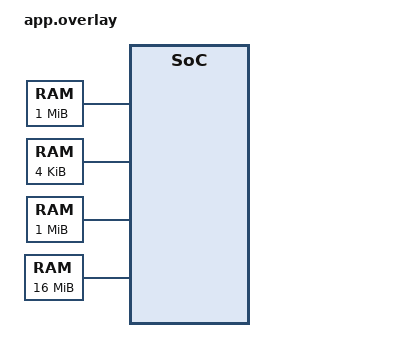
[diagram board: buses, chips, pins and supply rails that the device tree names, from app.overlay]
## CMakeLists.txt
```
cmake_minimum_required(VERSION 3.20.0)
find_package(Zephyr REQUIRED HINTS $ENV{ZEPHYR_BASE})
project(am64x_rpmsg_poc)

target_sources(app PRIVATE src/main.c src/rsc_table.c)
target_include_directories(app PRIVATE ../common)
```

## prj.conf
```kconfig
CONFIG_PRINTK=y
CONFIG_SERIAL=y
CONFIG_UART_CONSOLE=y

# Raw OpenAMP (remote/device role); the resource table comes from src/rsc_table.c
CONFIG_OPENAMP=y
CONFIG_MBOX=y

# crc32_ieee() checks bulk payloads in place
CONFIG_CRC=y

CONFIG_HEAP_MEM_POOL_SIZE=8192
CONFIG_MAIN_STACK_SIZE=4096

# Shell on uart0 for "rpmsg send <text...>"
CONFIG_SHELL=y
CONFIG_SHELL_STACK_SIZE=4096
```

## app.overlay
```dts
/*
 * R5F memory map for the AM64x RPMsg POC on the Renode ZynqMP stand-in.
 * Must agree with renode/am64_zynqmp.repl and linux_app/am64_rpmsg_overlay.dts.
 */

/* Run from dedicated RAM outside the DDR that Linux owns */
/delete-node/ &sram0;

/ {
	chosen {
		zephyr,sram = &r5_ram;
		zephyr,ipc_shm = &ipc_shm;
		zephyr,ipc_rsc_table = &rsc_table;
	};

	r5_ram: memory@a0000000 {
		compatible = "mmio-sram";
		reg = <0xa0000000 DT_SIZE_M(1)>;
	};

	rsc_table: memory@a0100000 {
		compatible = "mmio-sram";
		reg = <0xa0100000 0x1000>;
	};

	/* VRING0 @ +0x0, VRING1 @ +0x4000, RPMsg buffers from +0x8000 */
	ipc_shm: memory@a5000000 {
		compatible = "mmio-sram";
		reg = <0xa5000000 DT_SIZE_M(1)>;
	};

	/* Bulk payloads: A53->R5F area @ +0x0, R5F->A53 area @ +0x800000 */
	bulk_shm: memory@a8000000 {
		compatible = "mmio-sram";
		reg = <0xa8000000 DT_SIZE_M(16)>;
	};

	rpmsg_mbox: rpmsg-mbox {
		compatible = "poc,rpmsg-mbox-consumer";
		mboxes = <&ipi_apu 0>, <&ipi_apu 1>;
		mbox-names = "tx", "rx";
	};
};

/*
 * ZynqMP IPI used as the AM64x mailbox stand-in: RPU0 owns IPI channel 1
 * (bit 8, SPI 33) and talks to the APU on IPI channel 7 (bit 24), which Linux
 * userspace drives through UIO.
 */
&{/soc} {
	rpu0_ipi_mbox: mailbox@ff310000 {
		compatible = "xlnx,mbox-versal-ipi-mailbox";
		reg = <0xff310000 0x1000>;
		reg-names = "ctrl";
		interrupts = <GIC_SPI 33 IRQ_TYPE_LEVEL IRQ_DEFAULT_PRIORITY>;
		xlnx,ipi-id = <8>;
		#address-cells = <1>;
		#size-cells = <1>;

		ipi_apu: mailbox@ff340000 {
			compatible = "xlnx,mbox-versal-ipi-dest-mailbox";
			reg = <0xff340000 0x1000>;
			reg-names = "ctrl";
			xlnx,ipi-id = <24>;
			#mbox-cells = <1>;
		};
	};
};
```

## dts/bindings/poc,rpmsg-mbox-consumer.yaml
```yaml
description: |
  Mailbox channels the POC firmware uses to kick and receive kicks from the A53.
  Expects "tx" and "rx" entries in mboxes/mbox-names.

compatible: "poc,rpmsg-mbox-consumer"

include: base.yaml

properties:
  mboxes:
    required: true

  mbox-names:
    required: true
```

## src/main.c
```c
#include <errno.h>
#include <stdlib.h>
#include <string.h>
#include <zephyr/kernel.h>
#include <zephyr/devicetree.h>
#include <zephyr/drivers/mbox.h>
#include <zephyr/shell/shell.h>
#include <zephyr/sys/atomic.h>
#include <zephyr/sys/barrier.h>
#include <zephyr/sys/crc.h>
#include <zephyr/sys/printk.h>
#include <openamp/open_amp.h>
#include <metal/sys.h>
#include <metal/io.h>
#include "rpmsg_bulk.h"
#include "rsc_table.h"

#define RPMSG_SERVICE_NAME "rpmsg-client-sample"
#define PING_MSG           "ping"
#define REPLY_MSG          "pong"

/* 512-byte RPMsg buffer minus the 16-byte RPMsg header */
#define MAX_PAYLOAD 496

#define SHM_NODE DT_CHOSEN(zephyr_ipc_shm)
#define SHM_ADDR DT_REG_ADDR(SHM_NODE)
#define SHM_SIZE DT_REG_SIZE(SHM_NODE)

#define BULK_NODE DT_NODELABEL(bulk_shm)
BUILD_ASSERT(DT_REG_ADDR(BULK_NODE) == RPMSG_BULK_REGION_ADDR &&
	     DT_REG_SIZE(BULK_NODE) == RPMSG_BULK_REGION_SIZE,
	     "bulk_shm in app.overlay must match common/rpmsg_bulk.h");
static uint8_t *const bulk_region = (uint8_t *)DT_REG_ADDR(BULK_NODE);

/* ZynqMP IPI: RPU0 (channel 1) <-> APU (channel 7), see app.overlay */
static const struct mbox_dt_spec mbox_tx = MBOX_DT_SPEC_GET(DT_NODELABEL(rpmsg_mbox), tx);
static const struct mbox_dt_spec mbox_rx = MBOX_DT_SPEC_GET(DT_NODELABEL(rpmsg_mbox), rx);

static K_SEM_DEFINE(kick_sem, 0, 1);

static metal_phys_addr_t shm_physmap = SHM_ADDR;
static struct metal_io_region shm_io;
static metal_phys_addr_t rsc_physmap;
static struct metal_io_region rsc_io;

static struct rpmsg_virtio_device rvdev;
static struct rpmsg_endpoint ept;
static struct rpmsg_endpoint bulk_ept;

/* Set once a message from the A53 has told us its endpoint address */
static atomic_t a53_connected;
static atomic_t a53_bulk_connected;

/* Set while our R5F->A53 area holds a payload the A53 hasn't released */
static atomic_t bulk_in_flight;
static uint32_t bulk_next_id = 1;

/*
 * Last payload received from the A53, for "rpmsg dump". It stays in the A53's
 * area until the A53 sends its next bulk payload.
 */
static struct k_spinlock bulk_rx_lock;
static struct rpmsg_bulk_msg bulk_rx_last;

static void mbox_rx_callback(const struct device *dev, mbox_channel_id_t channel_id,
			     void *user_data, struct mbox_msg *data)
{
	k_sem_give(&kick_sem);
}

/* Called by OpenAMP whenever the A53 has to look at a vring */
static int mailbox_notify(void *priv, uint32_t id)
{
	int ret;

	/* The IPI is busy until the A53 acknowledges the previous kick */
	while ((ret = mbox_send_dt(&mbox_tx, NULL)) == -EBUSY) {
		k_msleep(1);
	}

	return ret;
}

static int endpoint_cb(struct rpmsg_endpoint *ept, void *data, size_t len, uint32_t src,
		       void *priv)
{
	/* OpenAMP has now filled ept->dest_addr with the A53's address */
	if (!atomic_set(&a53_connected, 1)) {
		printk("OpenAMP: A53 connected (addr 0x%x)\n", src);
	}

	/* A zero-length message only announces the A53's endpoint */
	if (len == 0) {
		return RPMSG_SUCCESS;
	}

	printk("OpenAMP: Received message: \"%.*s\"\n", (int)len, (char *)data);

	if (len == strlen(PING_MSG) && !memcmp(data, PING_MSG, len)) {
		if (rpmsg_send(ept, REPLY_MSG, strlen(REPLY_MSG)) < 0) {
			printk("OpenAMP: failed to send reply\n");
		} else {
			printk("OpenAMP: Sent reply: \"%s\"\n", REPLY_MSG);
		}
	}

	return RPMSG_SUCCESS;
}

/*
 * rpmsg send <text...>: runs in the shell thread. OpenAMP serializes vring
 * access with the RPMsg device lock, so this can race with main()'s kick
 * processing.
 */
static int cmd_rpmsg_send(const struct shell *sh, size_t argc, char **argv)
{
	char msg[MAX_PAYLOAD];
	size_t len = 0;
	int ret;

	if (!atomic_get(&a53_connected)) {
		shell_error(sh, "OpenAMP: A53 not connected, start am64_rpmsg_userspace first");
		return -ENOTCONN;
	}

	for (size_t i = 1; i < argc; i++) {
		size_t n = strlen(argv[i]);

		if (len + (i > 1) + n > MAX_PAYLOAD) {
			shell_error(sh, "OpenAMP: message too long (max %d bytes)", MAX_PAYLOAD);
			return -EMSGSIZE;
		}
		if (i > 1) {
			msg[len++] = ' ';
		}
		memcpy(&msg[len], argv[i], n);
		len += n;
	}

	ret = rpmsg_send(&ept, msg, len);
	if (ret < 0) {
		shell_error(sh, "OpenAMP: failed to send message: %d", ret);
		return -EIO;
	}
	shell_print(sh, "OpenAMP: Sent message: \"%.*s\"", (int)len, msg);

	return 0;
}

static int bulk_send_ctrl(uint32_t type, uint32_t id, uint32_t offset, uint32_t len,
			  uint32_t crc)
{
	struct rpmsg_bulk_msg msg = {
		.type = type, .id = id, .offset = offset, .len = len, .crc32 = crc,
	};

	return rpmsg_send(&bulk_ept, &msg, sizeof(msg));
}

/* The A53 wrote a payload into its area: check it in place, then release it */
static int bulk_endpoint_cb(struct rpmsg_endpoint *ept, void *data, size_t len, uint32_t src,
			    void *priv)
{
	struct rpmsg_bulk_msg msg;
	uint32_t crc;

	if (!atomic_set(&a53_bulk_connected, 1)) {
		printk("OpenAMP: A53 bulk channel connected (addr 0x%x)\n", src);
	}
	if (len == 0) {
		return RPMSG_SUCCESS;
	}
	if (len != sizeof(msg)) {
		printk("OpenAMP: dropped bulk message with bad length %u\n", (unsigned int)len);
		return RPMSG_SUCCESS;
	}
	memcpy(&msg, data, sizeof(msg));

	switch (msg.type) {
	case RPMSG_BULK_XFER:
		if (msg.offset < RPMSG_BULK_A53_TX_OFFSET || msg.len > RPMSG_BULK_MAX_LEN ||
		    msg.offset - RPMSG_BULK_A53_TX_OFFSET > RPMSG_BULK_MAX_LEN - msg.len) {
			printk("OpenAMP: dropped bulk %u outside the A53 area (offset 0x%x, len %u)\n",
			       msg.id, msg.offset, msg.len);
			return RPMSG_SUCCESS;
		}
		crc = crc32_ieee(bulk_region + msg.offset, msg.len);
		printk("OpenAMP: Received bulk %u: %u bytes, crc 0x%08x %s\n", msg.id, msg.len,
		       crc, crc == msg.crc32 ? "OK" : "MISMATCH");
		K_SPINLOCK(&bulk_rx_lock) {
			bulk_rx_last = msg;
		}
		if (bulk_send_ctrl(RPMSG_BULK_RELEASE, msg.id, 0, 0, 0) < 0) {
			printk("OpenAMP: failed to release bulk %u\n", msg.id);
		}
		break;
	case RPMSG_BULK_RELEASE:
		atomic_clear(&bulk_in_flight);
		printk("OpenAMP: bulk %u released\n", msg.id);
		break;
	default:
		printk("OpenAMP: dropped bulk message with unknown type %u\n", msg.type);
		break;
	}

	return RPMSG_SUCCESS;
}

/* Parses <n>[K|M] */
static int parse_size(const char *arg, size_t *size)
{
	char *end;
	unsigned long n = strtoul(arg, &end, 0);

	if (end == arg) {
		return -EINVAL;
	}
	if (*end == 'K' || *end == 'k') {
		n *= 1024;
		end++;
	} else if (*end == 'M' || *end == 'm') {
		n *= 1024 * 1024;
		end++;
	}
	if (*end != '\0') {
		return -EINVAL;
	}
	*size = n;
	return 0;
}

/*
 * rpmsg bulk <bytes>[K|M]: fill our R5F->A53 area with a test pattern and hand
 * it to the A53. The payload never passes through the vrings.
 */
static int cmd_rpmsg_bulk(const struct shell *sh, size_t argc, char **argv)
{
	uint8_t *buf = bulk_region + RPMSG_BULK_R5F_TX_OFFSET;
	uint32_t id, crc;
	size_t len;
	int ret;

	if (parse_size(argv[1], &len) || len == 0 || len > RPMSG_BULK_MAX_LEN) {
		shell_error(sh, "OpenAMP: bulk size must be 1..%u bytes (K/M suffixes allowed)",
			    RPMSG_BULK_MAX_LEN);
		return -EINVAL;
	}
	if (!atomic_get(&a53_bulk_connected)) {
		shell_error(sh, "OpenAMP: A53 not connected, start am64_rpmsg_userspace first");
		return -ENOTCONN;
	}
	if (atomic_set(&bulk_in_flight, 1)) {
		shell_error(sh, "OpenAMP: previous bulk transfer still in flight");
		return -EBUSY;
	}

	id = bulk_next_id++;
	for (size_t i = 0; i < len; i++) {
		buf[i] = (uint8_t)(i * 31 + id);
	}
	crc = crc32_ieee(buf, len);

	/* The payload must be visible before the A53 sees the descriptor */
	barrier_dmem_fence_full();
	ret = bulk_send_ctrl(RPMSG_BULK_XFER, id, RPMSG_BULK_R5F_TX_OFFSET, len, crc);
	if (ret < 0) {
		atomic_clear(&bulk_in_flight);
		shell_error(sh, "OpenAMP: failed to send bulk descriptor: %d", ret);
		return -EIO;
	}
	shell_print(sh, "OpenAMP: Sent bulk %u: %u bytes, crc 0x%08x", id, (unsigned int)len,
		    crc);

	return 0;
}

/*
 * rpmsg dump [len] [offset]: hexdump the last payload received from the A53,
 * in place in the bulk region. Defaults to the first 256 bytes.
 */
static int cmd_rpmsg_dump(const struct shell *sh, size_t argc, char **argv)
{
	struct rpmsg_bulk_msg last;
	size_t len = 256, offset = 0;

	K_SPINLOCK(&bulk_rx_lock) {
		last = bulk_rx_last;
	}
	if (last.len == 0) {
		shell_error(sh, "OpenAMP: no bulk payload received yet");
		return -ENODATA;
	}
	if ((argc > 1 && parse_size(argv[1], &len)) ||
	    (argc > 2 && parse_size(argv[2], &offset))) {
		shell_error(sh, "OpenAMP: usage: rpmsg dump [len] [offset] (K/M suffixes allowed)");
		return -EINVAL;
	}
	if (offset >= last.len) {
		shell_error(sh, "OpenAMP: offset beyond the %u-byte payload", last.len);
		return -EINVAL;
	}
	len = MIN(len, last.len - offset);

	shell_print(sh, "OpenAMP: bulk %u, bytes %u..%u of %u:", last.id, (unsigned int)offset,
		    (unsigned int)(offset + len - 1), last.len);
	for (size_t i = 0; i < len; i += SHELL_HEXDUMP_BYTES_IN_LINE) {
		shell_hexdump_line(sh, offset + i, bulk_region + last.offset + offset + i,
				   MIN(len - i, SHELL_HEXDUMP_BYTES_IN_LINE));
	}

	return 0;
}

SHELL_STATIC_SUBCMD_SET_CREATE(sub_rpmsg,
	SHELL_CMD_ARG(send, NULL, "Send a text message to the A53: rpmsg send <text...>",
		      cmd_rpmsg_send, 2, SHELL_OPT_ARG_CHECK_SKIP),
	SHELL_CMD_ARG(bulk, NULL,
		      "Send a test pattern through the bulk region: rpmsg bulk <bytes>[K|M]",
		      cmd_rpmsg_bulk, 2, 0),
	SHELL_CMD_ARG(dump, NULL,
		      "Hexdump the last bulk payload from the A53: rpmsg dump [len] [offset]",
		      cmd_rpmsg_dump, 1, 2),
	SHELL_SUBCMD_SET_END);
SHELL_CMD_REGISTER(rpmsg, &sub_rpmsg, "RPMsg commands", NULL);

static struct virtio_device *create_vdev(struct am64_rsc_table *rsc)
{
	struct virtio_device *vdev;
	uint8_t status = 0;

	vdev = rproc_virtio_create_vdev(VIRTIO_DEV_DEVICE, VDEV_NOTIFYID, &rsc->vdev, &rsc_io,
					NULL, mailbox_notify, NULL);
	if (!vdev) {
		return NULL;
	}

	/* The A53 sets DRIVER_OK once it has initialized the vrings and buffers */
	printk("OpenAMP: waiting for the A53 to initialize the virtio device\n");
	while (!(status & VIRTIO_CONFIG_STATUS_DRIVER_OK)) {
		k_msleep(10);
		virtio_get_status(vdev, &status);
	}

	if (rproc_virtio_init_vring(vdev, 0, rsc->vring0.notifyid,
				    (void *)(uintptr_t)rsc->vring0.da, &shm_io,
				    rsc->vring0.num, rsc->vring0.align) ||
	    rproc_virtio_init_vring(vdev, 1, rsc->vring1.notifyid,
				    (void *)(uintptr_t)rsc->vring1.da, &shm_io,
				    rsc->vring1.num, rsc->vring1.align)) {
		rproc_virtio_remove_vdev(vdev);
		return NULL;
	}

	return vdev;
}

int main(void)
{
	struct metal_init_params metal_params = METAL_INIT_DEFAULTS;
	struct am64_rsc_table *rsc;
	struct virtio_device *vdev;
	struct rpmsg_device *rdev;
	int ret;

	printk("Starting Zephyr OpenAMP remote on R5F\n");

	ret = metal_init(&metal_params);
	if (ret) {
		printk("OpenAMP: metal_init failed: %d\n", ret);
		return ret;
	}

	rsc = rsc_table_publish();
	rsc_physmap = (uintptr_t)rsc;
	metal_io_init(&rsc_io, rsc, &rsc_physmap, sizeof(*rsc), -1, 0, NULL);
	metal_io_init(&shm_io, (void *)SHM_ADDR, &shm_physmap, SHM_SIZE, -1, 0, NULL);
	printk("OpenAMP: resource table published at %p\n", rsc);

	ret = mbox_register_callback_dt(&mbox_rx, mbox_rx_callback, NULL);
	if (!ret) {
		ret = mbox_set_enabled_dt(&mbox_rx, true);
	}
	if (ret) {
		printk("OpenAMP: IPI mailbox setup failed: %d\n", ret);
		return ret;
	}

	vdev = create_vdev(rsc);
	if (!vdev) {
		printk("OpenAMP: failed to create virtio device\n");
		return -ENODEV;
	}

	ret = rpmsg_init_vdev(&rvdev, vdev, NULL, &shm_io, NULL);
	if (ret) {
		printk("OpenAMP: rpmsg_init_vdev failed: %d\n", ret);
		return ret;
	}
	rdev = rpmsg_virtio_get_rpmsg_device(&rvdev);

	/* Creating the endpoint sends the name service announcement to the A53 */
	ret = rpmsg_create_ept(&ept, rdev, RPMSG_SERVICE_NAME, RPMSG_ADDR_ANY, RPMSG_ADDR_ANY,
			       endpoint_cb, NULL);
	if (ret) {
		printk("OpenAMP: rpmsg_create_ept failed: %d\n", ret);
		return ret;
	}
	printk("OpenAMP: endpoint \"%s\" announced, waiting for messages\n", RPMSG_SERVICE_NAME);

	ret = rpmsg_create_ept(&bulk_ept, rdev, RPMSG_BULK_SERVICE_NAME, RPMSG_ADDR_ANY,
			       RPMSG_ADDR_ANY, bulk_endpoint_cb, NULL);
	if (ret) {
		printk("OpenAMP: rpmsg_create_ept (bulk) failed: %d\n", ret);
		return ret;
	}
	printk("OpenAMP: endpoint \"%s\" announced\n", RPMSG_BULK_SERVICE_NAME);

	while (1) {
		k_sem_take(&kick_sem, K_FOREVER);
		rproc_virtio_notified(vdev, RSC_NOTIFY_ID_ANY);
	}

	return 0;
}
```

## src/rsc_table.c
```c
#include <string.h>
#include <zephyr/devicetree.h>
#include <zephyr/sys/util.h>
#include "rsc_table.h"

#define RSC_TABLE_NODE DT_CHOSEN(zephyr_ipc_rsc_table)
#define SHM_NODE       DT_CHOSEN(zephyr_ipc_shm)

/* VRING0 and VRING1 sit at the start of the shared SRAM, 16 KB apart */
#define VRING0_ADDR (DT_REG_ADDR(SHM_NODE))
#define VRING1_ADDR (DT_REG_ADDR(SHM_NODE) + 0x4000)

BUILD_ASSERT(sizeof(struct am64_rsc_table) <= DT_REG_SIZE(RSC_TABLE_NODE),
	     "resource table does not fit in zephyr,ipc_rsc_table");

/*
 * Nothing loads this firmware through remoteproc, so the A53 cannot read the
 * table from the ELF. Instead it is copied at boot to a fixed address that the
 * A53 maps through UIO.
 */
static const struct am64_rsc_table rsc_table_template = {
	.hdr = {
		.ver = 1,
		.num = ARRAY_SIZE(rsc_table_template.offset),
	},
	.offset = { offsetof(struct am64_rsc_table, vdev) },
	.vdev = {
		.type = RSC_VDEV,
		.id = VIRTIO_ID_RPMSG,
		.notifyid = VDEV_NOTIFYID,
		.dfeatures = BIT(VIRTIO_RPMSG_F_NS),
		.gfeatures = 0,
		.config_len = 0,
		.status = 0,
		.num_of_vrings = VRING_COUNT,
	},
	.vring0 = {
		.da = VRING0_ADDR,
		.align = VRING_ALIGN,
		.num = VRING_NUM_DESCS,
		.notifyid = VRING0_NOTIFYID,
	},
	.vring1 = {
		.da = VRING1_ADDR,
		.align = VRING_ALIGN,
		.num = VRING_NUM_DESCS,
		.notifyid = VRING1_NOTIFYID,
	},
};

struct am64_rsc_table *rsc_table_publish(void)
{
	struct am64_rsc_table *table = (struct am64_rsc_table *)DT_REG_ADDR(RSC_TABLE_NODE);

	memcpy(table, &rsc_table_template, sizeof(*table));

	return table;
}
```

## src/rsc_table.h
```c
#ifndef RSC_TABLE_H_
#define RSC_TABLE_H_

#include <openamp/remoteproc.h>
#include <openamp/rpmsg_virtio.h>
#include <openamp/virtio.h>

#define VRING_COUNT     2
#define VRING_NUM_DESCS 256
#define VRING_ALIGN     0x1000

/* Notification IDs; both sides process all vrings on every kick */
#define VRING0_NOTIFYID 0
#define VRING1_NOTIFYID 1
#define VDEV_NOTIFYID   2

struct am64_rsc_table {
	struct resource_table hdr;
	uint32_t offset[1];
	struct fw_rsc_vdev vdev;
	struct fw_rsc_vdev_vring vring0;
	struct fw_rsc_vdev_vring vring1;
} METAL_PACKED_END;

/*
 * Publish the resource table at the address shared with the A53
 * (chosen zephyr,ipc_rsc_table) and return a pointer to that copy.
 */
struct am64_rsc_table *rsc_table_publish(void);

#endif /* RSC_TABLE_H_ */
```
